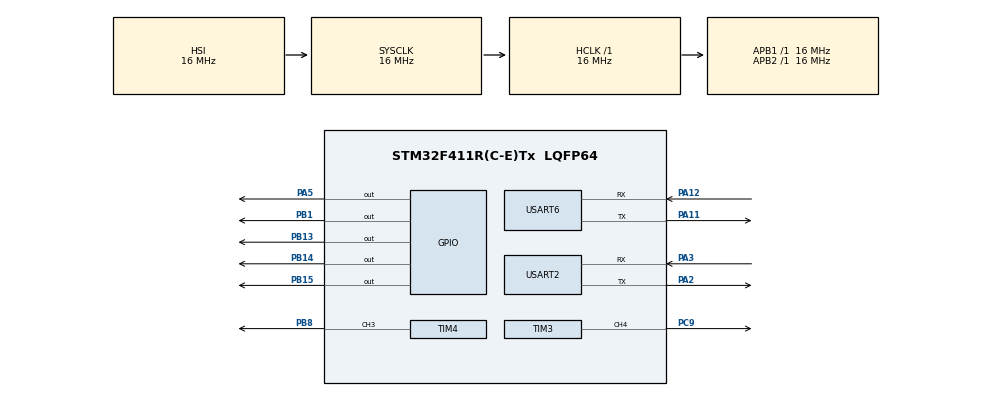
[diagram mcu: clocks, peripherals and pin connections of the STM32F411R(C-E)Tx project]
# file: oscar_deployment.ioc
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Mcu.Family=STM32F4
Mcu.Name=STM32F411R(C-E)Tx
Mcu.Package=LQFP64
NVIC.PriorityGroup=NVIC_PRIORITYGROUP_4
NVIC.USART2_IRQn=true\:0\:0\:false\:false\:true\:true\:true
PA11.Mode=Asynchronous
PA11.Signal=USART6_TX
PA12.Mode=Asynchronous
PA12.Signal=USART6_RX
PA2.Mode=Asynchronous
PA2.Signal=USART2_TX
PA3.Mode=Asynchronous
PA3.Signal=USART2_RX
PA5.Signal=GPIO_Output
PB1.Signal=GPIO_Output
PB13.Signal=GPIO_Output
PB14.Signal=GPIO_Output
PB15.Signal=GPIO_Output
PB8.Signal=S_TIM4_CH3
PC9.Signal=S_TIM3_CH4
ProjectManager.HeapSize=0x200
ProjectManager.StackSize=0x400
ProjectManager.TargetToolchain=STM32CubeIDE
RCC.AHBFreq_Value=16000000
RCC.APB1Freq_Value=16000000
RCC.APB2Freq_Value=16000000
RCC.CortexFreq_Value=16000000
RCC.HSE_VALUE=25000000
RCC.HSI_VALUE=16000000
RCC.LSE_VALUE=32768
RCC.SYSCLKFreq_VALUE=16000000
RCC.VCOOutputFreq_Value=192000000
SH.S_TIM3_CH4.0=TIM3_CH4,PWM Generation4 CH4
SH.S_TIM4_CH3.0=TIM4_CH3,PWM Generation3 CH3
TIM3.Channel-PWM\ Generation4\ CH4=TIM_CHANNEL_4
TIM3.Period=4999
TIM3.Prescaler=15
TIM4.Channel-PWM\ Generation3\ CH3=TIM_CHANNEL_3
TIM4.Period=4999
TIM4.Prescaler=15
USART2.VirtualMode=VM_ASYNC
USART6.VirtualMode=VM_ASYNC
board=custom

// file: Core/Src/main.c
/* USER CODE BEGIN Header */
/**
  ******************************************************************************
  * @file           : main.c
  * @brief          : Main program body
  ******************************************************************************
  * @attention
  *
  * <h2><center>&copy; Copyright (c) 2020 STMicroelectronics.
  * All rights reserved.</center></h2>
  *
  * This software component is licensed by ST under BSD 3-Clause license,
  * the "License"; You may not use this file except in compliance with the
  * License. You may obtain a copy of the License at:
  *                        opensource.org/licenses/BSD-3-Clause
  *
  ******************************************************************************
  */
/* USER CODE END Header */
#include "main.h"

/* USER CODE BEGIN Includes */
#include <stdbool.h>
#include <stdio.h>
#include <string.h>

#include "../Inc/stm32f4xx_hal_conf.h"
#include "../Inc/stm32f4xx_it.h"
#include "../Inc/usart_utilities.h"
#include "../Inc/global.h"
#include "../Inc/curves.h"
#include "../Inc/gimbal_stuff.h"
#include "../Inc/buggy.h"

/* USER CODE END Includes */

TIM_HandleTypeDef htim3;
TIM_HandleTypeDef htim4;

UART_HandleTypeDef huart2;
UART_HandleTypeDef huart6;

void SystemClock_Config(void);
static void MX_GPIO_Init(void);
static void MX_USART2_UART_Init(void);
static void MX_USART6_UART_Init(void);
static void MX_TIM3_Init(void);
static void MX_TIM4_Init(void);

/* USER CODE BEGIN 0 */

UART_HandleTypeDef UartHandle;
__IO ITStatus UartReady = RESET;

char commBuff[COMMSBUFFERSIZE];

uint8_t aRxBuffer[RXBUFFERSIZE];
uint8_t bufferRx[RXBUFFERSIZE];

bool newData = FALSE;

extern struct Curves area,roll,pitch,yaw;

/*My code vars*/
const char setupInitMsg[] = "<Arduino is ready>";

/* USER CODE END 0 */

int main(void)
{

  /* MCU Configuration--------------------------------------------------------*/

  /* Reset of all peripherals, Initializes the Flash interface and the Systick. */
  HAL_Init();

  /* Configure the system clock */
  SystemClock_Config();

  /* Initialize all configured peripherals */
  MX_GPIO_Init();
  MX_USART2_UART_Init();
  MX_USART6_UART_Init();
  MX_TIM3_Init();
  MX_TIM4_Init();
  /* USER CODE BEGIN 2 */
  //uint8_t debugMsg[] = "hi\n";

  __HAL_UART_ENABLE_IT(&huart2, UART_IT_RXNE); // flag receive
  __HAL_UART_ENABLE_IT(&huart2, UART_IT_TC); // flat Tx_IT

  HAL_TIM_Base_Start(&htim3);
  HAL_TIM_PWM_Start(&htim3,TIM_CHANNEL_4); //Start Pwm signal on PB-6 Pin

  HAL_TIM_Base_Start(&htim4);
  HAL_TIM_PWM_Start(&htim4,TIM_CHANNEL_3); //Start Pwm signal on PB-6 Pin

  /* USER CODE END 2 */

  /* Infinite loop */
  /* USER CODE BEGIN WHILE */
  longMotn(100);
  lateralMotn(100);

  init_gimbal();

  HAL_UART_Transmit_IT(&huart2, (uint8_t*)setupInitMsg, sizeof(setupInitMsg));

  while (1)
  {
    /* USER CODE END WHILE */

    /* USER CODE BEGIN 3 */
	   HAL_UART_Receive_IT(&huart2, &bufferRx[0], 5);
	    // Magic pixie dust
	   if (UartReady != SET) {
      /* do shit all... The Part When UART interrupt is not triggered  */
       /* Turn the LED PIN OFF */
       HAL_GPIO_WritePin(GPIOA, GPIO_PIN_5, RESET);

      //HAL_GPIO_TogglePin(GPIOA, GPIO_PIN_5);
      //HAL_GPIO_WritePin(GPIOA, GPIO_PIN_5, 1);
      if(newData == TRUE){
        //parseData(commBuff);
        //regensplines
        //interpolate splines
        // fire to gimbal
        newData = FALSE;
      }

      // Find sleep functionality later and replace this here ...
      HAL_Delay(100); // MS
      continue;
	    }
	   else {
       // The part when UART was triggered.
	        UartReady = RESET;
	        /* Turn the LED PIN ON */
	        HAL_GPIO_WritePin(GPIOA, GPIO_PIN_5, SET);
	        //printf("command buffer is %s", commBuff);
	        memset(commBuff,32,21);
	        parseData((byte* )commBuff);
	        actuate_gimbal();
	        //printf("area.curves[0].d = 99 should be :%f", area.curves[0].d);
	        memset(commBuff,0,sizeof(commBuff));
	        //HAL_UART_Transmit_IT(&huart2, (uint8_t*)prompt, 5);
	    }

  }
  /* USER CODE END 3 */
}

void SystemClock_Config(void)
{
  RCC_OscInitTypeDef RCC_OscInitStruct = {0};
  RCC_ClkInitTypeDef RCC_ClkInitStruct = {0};

  /** Configure the main internal regulator output voltage
  */
  __HAL_RCC_PWR_CLK_ENABLE();
  __HAL_PWR_VOLTAGESCALING_CONFIG(PWR_REGULATOR_VOLTAGE_SCALE1);
  /** Initializes the RCC Oscillators according to the specified parameters
  * in the RCC_OscInitTypeDef structure.
  */
  RCC_OscInitStruct.OscillatorType = RCC_OSCILLATORTYPE_HSI;
  RCC_OscInitStruct.HSIState = RCC_HSI_ON;
  RCC_OscInitStruct.HSICalibrationValue = RCC_HSICALIBRATION_DEFAULT;
  RCC_OscInitStruct.PLL.PLLState = RCC_PLL_NONE;
  if (HAL_RCC_OscConfig(&RCC_OscInitStruct) != HAL_OK)
  {
    Error_Handler();
  }
  /** Initializes the CPU, AHB and APB buses clocks
  */
  RCC_ClkInitStruct.ClockType = RCC_CLOCKTYPE_HCLK|RCC_CLOCKTYPE_SYSCLK
                              |RCC_CLOCKTYPE_PCLK1|RCC_CLOCKTYPE_PCLK2;
  RCC_ClkInitStruct.SYSCLKSource = RCC_SYSCLKSOURCE_HSI;
  RCC_ClkInitStruct.AHBCLKDivider = RCC_SYSCLK_DIV1;
  RCC_ClkInitStruct.APB1CLKDivider = RCC_HCLK_DIV1;
  RCC_ClkInitStruct.APB2CLKDivider = RCC_HCLK_DIV1;

  if (HAL_RCC_ClockConfig(&RCC_ClkInitStruct, FLASH_LATENCY_0) != HAL_OK)
  {
    Error_Handler();
  }
}

static void MX_TIM3_Init(void)
{

  TIM_MasterConfigTypeDef sMasterConfig = {0};
  TIM_OC_InitTypeDef sConfigOC = {0};

  htim3.Instance = TIM3;
  htim3.Init.Prescaler = 15;
  htim3.Init.CounterMode = TIM_COUNTERMODE_UP;
  htim3.Init.Period = 4999;
  htim3.Init.ClockDivision = TIM_CLOCKDIVISION_DIV1;
  htim3.Init.AutoReloadPreload = TIM_AUTORELOAD_PRELOAD_DISABLE;
  if (HAL_TIM_PWM_Init(&htim3) != HAL_OK)
  {
    Error_Handler();
  }
  sMasterConfig.MasterOutputTrigger = TIM_TRGO_RESET;
  sMasterConfig.MasterSlaveMode = TIM_MASTERSLAVEMODE_DISABLE;
  if (HAL_TIMEx_MasterConfigSynchronization(&htim3, &sMasterConfig) != HAL_OK)
  {
    Error_Handler();
  }
  sConfigOC.OCMode = TIM_OCMODE_PWM1;
  sConfigOC.Pulse = 0;
  sConfigOC.OCPolarity = TIM_OCPOLARITY_HIGH;
  sConfigOC.OCFastMode = TIM_OCFAST_DISABLE;
  if (HAL_TIM_PWM_ConfigChannel(&htim3, &sConfigOC, TIM_CHANNEL_4) != HAL_OK)
  {
    Error_Handler();
  }
  HAL_TIM_MspPostInit(&htim3);

}

static void MX_TIM4_Init(void)
{

  TIM_MasterConfigTypeDef sMasterConfig = {0};
  TIM_OC_InitTypeDef sConfigOC = {0};

  htim4.Instance = TIM4;
  htim4.Init.Prescaler = 15;
  htim4.Init.CounterMode = TIM_COUNTERMODE_UP;
  htim4.Init.Period = 4999;
  htim4.Init.ClockDivision = TIM_CLOCKDIVISION_DIV1;
  htim4.Init.AutoReloadPreload = TIM_AUTORELOAD_PRELOAD_DISABLE;
  if (HAL_TIM_PWM_Init(&htim4) != HAL_OK)
  {
    Error_Handler();
  }
  sMasterConfig.MasterOutputTrigger = TIM_TRGO_RESET;
  sMasterConfig.MasterSlaveMode = TIM_MASTERSLAVEMODE_DISABLE;
  if (HAL_TIMEx_MasterConfigSynchronization(&htim4, &sMasterConfig) != HAL_OK)
  {
    Error_Handler();
  }
  sConfigOC.OCMode = TIM_OCMODE_PWM1;
  sConfigOC.Pulse = 0;
  sConfigOC.OCPolarity = TIM_OCPOLARITY_HIGH;
  sConfigOC.OCFastMode = TIM_OCFAST_DISABLE;
  if (HAL_TIM_PWM_ConfigChannel(&htim4, &sConfigOC, TIM_CHANNEL_3) != HAL_OK)
  {
    Error_Handler();
  }
  HAL_TIM_MspPostInit(&htim4);

}

static void MX_USART2_UART_Init(void)
{

  huart2.Instance = USART2;
  huart2.Init.BaudRate = 115200;
  huart2.Init.WordLength = UART_WORDLENGTH_8B;
  huart2.Init.StopBits = UART_STOPBITS_1;
  huart2.Init.Parity = UART_PARITY_NONE;
  huart2.Init.Mode = UART_MODE_TX_RX;
  huart2.Init.HwFlowCtl = UART_HWCONTROL_NONE;
  huart2.Init.OverSampling = UART_OVERSAMPLING_16;
  if (HAL_UART_Init(&huart2) != HAL_OK)
  {
    Error_Handler();
  }

}

static void MX_USART6_UART_Init(void)
{

  huart6.Instance = USART6;
  huart6.Init.BaudRate = 115200;
  huart6.Init.WordLength = UART_WORDLENGTH_8B;
  huart6.Init.StopBits = UART_STOPBITS_1;
  huart6.Init.Parity = UART_PARITY_NONE;
  huart6.Init.Mode = UART_MODE_TX_RX;
  huart6.Init.HwFlowCtl = UART_HWCONTROL_NONE;
  huart6.Init.OverSampling = UART_OVERSAMPLING_16;
  if (HAL_UART_Init(&huart6) != HAL_OK)
  {
    Error_Handler();
  }

}

static void MX_GPIO_Init(void)
{
  GPIO_InitTypeDef GPIO_InitStruct = {0};

  /* GPIO Ports Clock Enable */
  __HAL_RCC_GPIOA_CLK_ENABLE();
  __HAL_RCC_GPIOB_CLK_ENABLE();
  __HAL_RCC_GPIOC_CLK_ENABLE();

  /*Configure GPIO pin Output Level */
  HAL_GPIO_WritePin(GPIOA, GPIO_PIN_5, GPIO_PIN_RESET);

  /*Configure GPIO pin Output Level */
  HAL_GPIO_WritePin(GPIOB, GPIO_PIN_1|GPIO_PIN_13|GPIO_PIN_14|GPIO_PIN_15, GPIO_PIN_RESET);

  /*Configure GPIO pin : PA5 */
  GPIO_InitStruct.Pin = GPIO_PIN_5;
  GPIO_InitStruct.Mode = GPIO_MODE_OUTPUT_PP;
  GPIO_InitStruct.Pull = GPIO_NOPULL;
  GPIO_InitStruct.Speed = GPIO_SPEED_FREQ_LOW;
  HAL_GPIO_Init(GPIOA, &GPIO_InitStruct);

  /*Configure GPIO pins : PB1 PB13 PB14 PB15 */
  GPIO_InitStruct.Pin = GPIO_PIN_1|GPIO_PIN_13|GPIO_PIN_14|GPIO_PIN_15;
  GPIO_InitStruct.Mode = GPIO_MODE_OUTPUT_PP;
  GPIO_InitStruct.Pull = GPIO_NOPULL;
  GPIO_InitStruct.Speed = GPIO_SPEED_FREQ_LOW;
  HAL_GPIO_Init(GPIOB, &GPIO_InitStruct);

}

void Error_Handler(void)
{
}

/************************ (C) COPYRIGHT STMicroelectronics *****END OF FILE****/
